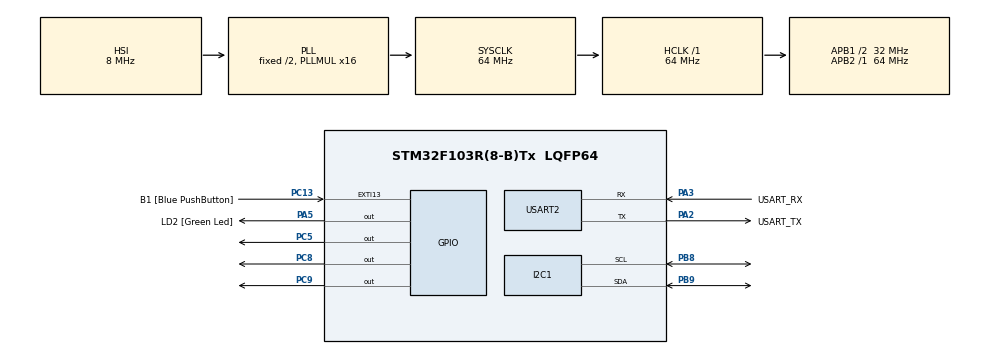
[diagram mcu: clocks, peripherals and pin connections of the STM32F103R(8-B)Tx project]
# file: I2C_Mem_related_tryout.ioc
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Dma.I2C1_RX.0.Direction=DMA_PERIPH_TO_MEMORY
Dma.I2C1_RX.0.Instance=DMA1_Channel7
Dma.I2C1_RX.0.MemDataAlignment=DMA_MDATAALIGN_BYTE
Dma.I2C1_RX.0.MemInc=DMA_MINC_ENABLE
Dma.I2C1_RX.0.Mode=DMA_NORMAL
Dma.I2C1_RX.0.PeriphDataAlignment=DMA_PDATAALIGN_BYTE
Dma.I2C1_RX.0.PeriphInc=DMA_PINC_DISABLE
Dma.I2C1_RX.0.Priority=DMA_PRIORITY_LOW
Dma.I2C1_TX.1.Direction=DMA_MEMORY_TO_PERIPH
Dma.I2C1_TX.1.Instance=DMA1_Channel6
Dma.I2C1_TX.1.MemDataAlignment=DMA_MDATAALIGN_BYTE
Dma.I2C1_TX.1.MemInc=DMA_MINC_ENABLE
Dma.I2C1_TX.1.Mode=DMA_NORMAL
Dma.I2C1_TX.1.PeriphDataAlignment=DMA_PDATAALIGN_BYTE
Dma.I2C1_TX.1.PeriphInc=DMA_PINC_DISABLE
Dma.I2C1_TX.1.Priority=DMA_PRIORITY_LOW
Dma.Request0=I2C1_RX
Dma.Request1=I2C1_TX
Mcu.Family=STM32F1
Mcu.Name=STM32F103R(8-B)Tx
Mcu.Package=LQFP64
NVIC.DMA1_Channel6_IRQn=true\:0\:0\:false\:false\:true\:false
NVIC.DMA1_Channel7_IRQn=true\:0\:0\:false\:false\:true\:false
NVIC.EXTI15_10_IRQn=true\:0\:0\:false\:false\:true\:true
NVIC.PriorityGroup=NVIC_PRIORITYGROUP_4
PA13.GPIO_Label=TMS
PA13.Mode=Serial_Wire
PA13.Signal=SYS_JTMS-SWDIO
PA14.GPIO_Label=TCK
PA14.Mode=Serial_Wire
PA14.Signal=SYS_JTCK-SWCLK
PA2.GPIO_Label=USART_TX
PA2.GPIO_Mode=GPIO_MODE_AF_PP
PA2.GPIO_PuPd=GPIO_NOPULL
PA2.GPIO_Speed=GPIO_SPEED_FREQ_LOW
PA2.Mode=Asynchronous
PA2.Signal=USART2_TX
PA3.GPIO_Label=USART_RX
PA3.GPIO_Mode=GPIO_MODE_AF_PP
PA3.GPIO_PuPd=GPIO_NOPULL
PA3.GPIO_Speed=GPIO_SPEED_FREQ_LOW
PA3.Mode=Asynchronous
PA3.Signal=USART2_RX
PA5.GPIO_Label=LD2 [Green Led]
PA5.GPIO_ModeDefaultOutputPP=GPIO_MODE_OUTPUT_PP
PA5.GPIO_PuPd=GPIO_NOPULL
PA5.GPIO_Speed=GPIO_SPEED_FREQ_LOW
PA5.Signal=GPIO_Output
PB3.GPIO_Label=SWO
PB3.Signal=SYS_JTDO-TRACESWO
PB8.Mode=I2C
PB8.Signal=I2C1_SCL
PB9.Mode=I2C
PB9.Signal=I2C1_SDA
PC13-TAMPER-RTC.GPIO_Label=B1 [Blue PushButton]
PC13-TAMPER-RTC.GPIO_PuPd=GPIO_NOPULL
PC13-TAMPER-RTC.Signal=GPXTI13
PC14-OSC32_IN.Mode=LSE-External-Oscillator
PC14-OSC32_IN.Signal=RCC_OSC32_IN
PC15-OSC32_OUT.Mode=LSE-External-Oscillator
PC15-OSC32_OUT.Signal=RCC_OSC32_OUT
PC5.Signal=GPIO_Output
PC8.Signal=GPIO_Output
PC9.Signal=GPIO_Output
PD0-OSC_IN.Mode=HSE-External-Clock-Source
PD0-OSC_IN.Signal=RCC_OSC_IN
PD1-OSC_OUT.Mode=HSE-External-Clock-Source
PD1-OSC_OUT.Signal=RCC_OSC_OUT
ProjectManager.HeapSize=0x200
ProjectManager.StackSize=0x400
ProjectManager.TargetToolchain=Makefile
RCC.AHBFreq_Value=64000000
RCC.APB1CLKDivider=RCC_HCLK_DIV2
RCC.APB1Freq_Value=32000000
RCC.APB1TimFreq_Value=64000000
RCC.APB2Freq_Value=64000000
RCC.APB2TimFreq_Value=64000000
RCC.HCLKFreq_Value=64000000
RCC.PLLMUL=RCC_PLL_MUL16
RCC.RTCClockSelection=RCC_RTCCLKSOURCE_LSE
RCC.SYSCLKFreq_VALUE=64000000
RCC.SYSCLKSource=RCC_SYSCLKSOURCE_PLLCLK
RCC.USBFreq_Value=64000000
USART2.VirtualMode=VM_ASYNC
board=NUCLEO-F103RB

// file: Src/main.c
/**
  ******************************************************************************
  * @file           : main.c
  * @brief          : Main program body
  ******************************************************************************
  ** This notice applies to any and all portions of this file
  * that are not between comment pairs USER CODE BEGIN and
  * USER CODE END. Other portions of this file, whether
  * inserted by the user or by software development tools
  * are owned by their respective copyright owners.
  *
  * COPYRIGHT(c) 2018 STMicroelectronics
  *
  * Redistribution and use in source and binary forms, with or without modification,
  * are permitted provided that the following conditions are met:
  *   1. Redistributions of source code must retain the above copyright notice,
  *      this list of conditions and the following disclaimer.
  *   2. Redistributions in binary form must reproduce the above copyright notice,
  *      this list of conditions and the following disclaimer in the documentation
  *      and/or other materials provided with the distribution.
  *   3. Neither the name of STMicroelectronics nor the names of its contributors
  *      may be used to endorse or promote products derived from this software
  *      without specific prior written permission.
  *
  * THIS SOFTWARE IS PROVIDED BY THE COPYRIGHT HOLDERS AND CONTRIBUTORS "AS IS"
  * AND ANY EXPRESS OR IMPLIED WARRANTIES, INCLUDING, BUT NOT LIMITED TO, THE
  * IMPLIED WARRANTIES OF MERCHANTABILITY AND FITNESS FOR A PARTICULAR PURPOSE ARE
  * DISCLAIMED. IN NO EVENT SHALL THE COPYRIGHT HOLDER OR CONTRIBUTORS BE LIABLE
  * FOR ANY DIRECT, INDIRECT, INCIDENTAL, SPECIAL, EXEMPLARY, OR CONSEQUENTIAL
  * DAMAGES (INCLUDING, BUT NOT LIMITED TO, PROCUREMENT OF SUBSTITUTE GOODS OR
  * SERVICES; LOSS OF USE, DATA, OR PROFITS; OR BUSINESS INTERRUPTION) HOWEVER
  * CAUSED AND ON ANY THEORY OF LIABILITY, WHETHER IN CONTRACT, STRICT LIABILITY,
  * OR TORT (INCLUDING NEGLIGENCE OR OTHERWISE) ARISING IN ANY WAY OUT OF THE USE
  * OF THIS SOFTWARE, EVEN IF ADVISED OF THE POSSIBILITY OF SUCH DAMAGE.
  *
  ******************************************************************************
  */
#include "main.h"
#include "stm32f1xx_hal.h"
#include "dma.h"
#include "i2c.h"
#include "usart.h"
#include "gpio.h"

/* USER CODE BEGIN Includes */
#include <string.h>
#include <stdlib.h>

/* USER CODE END Includes */

/* USER CODE BEGIN PV */
/* Private variables ---------------------------------------------------------*/

/* USER CODE END PV */

void SystemClock_Config(void);

/* USER CODE BEGIN PFP */
/* Private function prototypes -----------------------------------------------*/

/* USER CODE END PFP */

int main(void)
{
  /* USER CODE BEGIN 1 */

  uint8_t message_len = 5;
  uint8_t test_store_message[] = "APPLE";
  uint16_t test_device_addr = 0xA0;
  uint16_t test_store_addr = 0x0055;

  // create a container to store the test_store_message and addresses
  uint8_t *data;
  uint16_t data_len = message_len+2;

  data = (uint8_t*) malloc(sizeof(uint8_t)*(data_len));
  data[0] = (uint8_t) ((test_store_addr & 0xFF00) >> 8);
  data[1] = (uint8_t) (test_store_addr & 0xFF);
  memcpy(data+2, test_store_message, message_len);

  uint8_t pread_buffer[message_len];

  /* USER CODE END 1 */

  /* MCU Configuration----------------------------------------------------------*/

  /* Reset of all peripherals, Initializes the Flash interface and the Systick. */
  HAL_Init();

  /* Configure the system clock */
  SystemClock_Config();

  /* Initialize all configured peripherals */
  MX_GPIO_Init();
  MX_DMA_Init();
  MX_USART2_UART_Init();
  MX_I2C1_Init();
  /* USER CODE BEGIN 2 */

  // NOTE: wait for 24C02 ready

  /* USER CODE END 2 */

  /* Infinite loop */
  while (1)
  {

  /* USER CODE BEGIN 3 */
    for(int i=0; i<256; i++){
      int * pi;
      pi=&i;
      message_len=1;

      // while(HAL_I2C_IsDeviceReady(&hi2c1, test_device_addr, 1, HAL_MAX_DELAY) != HAL_OK);
      // HAL_I2C_Mem_Write(&hi2c1, test_device_addr, test_store_addr, I2C_MEMADD_SIZE_8BIT, (uint8_t*)pi,message_len, HAL_MAX_DELAY);

      // while(HAL_I2C_IsDeviceReady(&hi2c1, test_device_addr, 1, HAL_MAX_DELAY) != HAL_OK);
      // HAL_I2C_Mem_Read(&hi2c1, test_device_addr, test_store_addr, I2C_MEMADD_SIZE_8BIT, (uint8_t*)pread_buffer,message_len, HAL_MAX_DELAY);

      // while(HAL_I2C_IsDeviceReady(&hi2c1, test_device_addr, 10, HAL_MAX_DELAY) != HAL_OK);
      // HAL_I2C_Mem_Write_DMA(&hi2c1, test_device_addr, test_store_addr, I2C_MEMADD_SIZE_8BIT, (uint8_t*)pi,message_len);

      while(HAL_I2C_IsDeviceReady(&hi2c1, test_device_addr, 10, HAL_MAX_DELAY) != HAL_OK);
      HAL_I2C_Mem_Read_DMA(&hi2c1, test_device_addr, test_store_addr, I2C_MEMADD_SIZE_8BIT, (uint8_t*)pread_buffer,message_len);

      HAL_GPIO_TogglePin(LD2_GPIO_Port, LD2_Pin);

    }

    while(HAL_I2C_IsDeviceReady(&hi2c1, test_device_addr, 1, HAL_MAX_DELAY) != HAL_OK);
  }

  /* USER CODE END 3 */

}

void SystemClock_Config(void)
{

  RCC_OscInitTypeDef RCC_OscInitStruct;
  RCC_ClkInitTypeDef RCC_ClkInitStruct;

    /**Initializes the CPU, AHB and APB busses clocks
    */
  RCC_OscInitStruct.OscillatorType = RCC_OSCILLATORTYPE_HSI;
  RCC_OscInitStruct.HSIState = RCC_HSI_ON;
  RCC_OscInitStruct.HSICalibrationValue = 16;
  RCC_OscInitStruct.PLL.PLLState = RCC_PLL_ON;
  RCC_OscInitStruct.PLL.PLLSource = RCC_PLLSOURCE_HSI_DIV2;
  RCC_OscInitStruct.PLL.PLLMUL = RCC_PLL_MUL16;
  if (HAL_RCC_OscConfig(&RCC_OscInitStruct) != HAL_OK)
  {
    _Error_Handler(__FILE__, __LINE__);
  }

    /**Initializes the CPU, AHB and APB busses clocks
    */
  RCC_ClkInitStruct.ClockType = RCC_CLOCKTYPE_HCLK|RCC_CLOCKTYPE_SYSCLK
                              |RCC_CLOCKTYPE_PCLK1|RCC_CLOCKTYPE_PCLK2;
  RCC_ClkInitStruct.SYSCLKSource = RCC_SYSCLKSOURCE_PLLCLK;
  RCC_ClkInitStruct.AHBCLKDivider = RCC_SYSCLK_DIV1;
  RCC_ClkInitStruct.APB1CLKDivider = RCC_HCLK_DIV2;
  RCC_ClkInitStruct.APB2CLKDivider = RCC_HCLK_DIV1;

  if (HAL_RCC_ClockConfig(&RCC_ClkInitStruct, FLASH_LATENCY_2) != HAL_OK)
  {
    _Error_Handler(__FILE__, __LINE__);
  }

    /**Configure the Systick interrupt time
    */
  HAL_SYSTICK_Config(HAL_RCC_GetHCLKFreq()/1000);

    /**Configure the Systick
    */
  HAL_SYSTICK_CLKSourceConfig(SYSTICK_CLKSOURCE_HCLK);

  /* SysTick_IRQn interrupt configuration */
  HAL_NVIC_SetPriority(SysTick_IRQn, 0, 0);
}

void _Error_Handler(char *file, int line)
{
  while(1)
  {
  }
}

/************************ (C) COPYRIGHT STMicroelectronics *****END OF FILE****/
